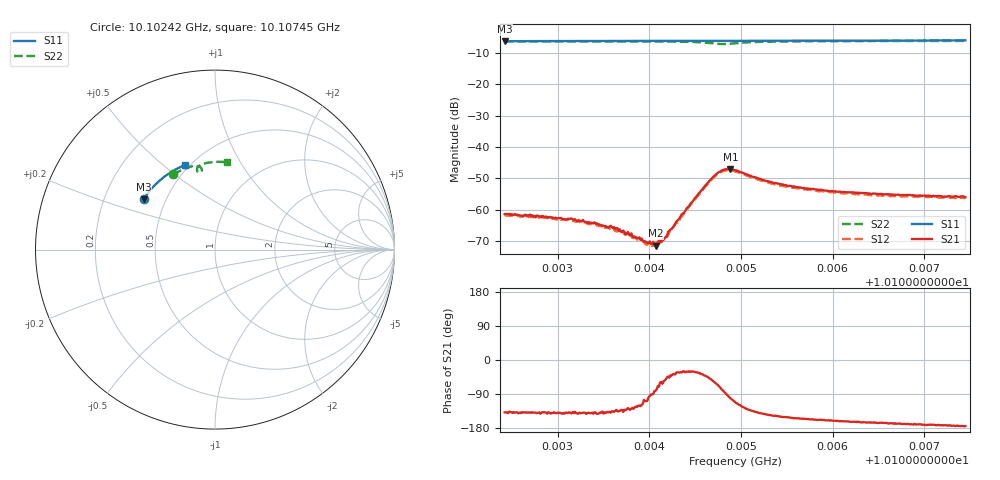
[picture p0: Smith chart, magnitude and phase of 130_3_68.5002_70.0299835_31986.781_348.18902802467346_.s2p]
#  HZ  S  RI  R  50.00
! Rohde & Schwarz Vector Network Analyzer
! Rohde-Schwarz,ZNB20-2Port,1311601062101988,3.16
! Created: UTC 3/20/2024, 4:54:21 PM
! freq[Hz]  re:S11  im:S11  re:S21  im:S21  re:S12  im:S12  re:S22  im:S22
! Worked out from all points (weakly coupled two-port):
!   401 points, 10.10242 GHz to 10.10745 GHz, reference 50 ohm
!   highest |S21| = -47.02 dB at 10.10489 GHz (marker M1); lowest = -71.5 dB at 10.10407 GHz (marker M2)
!   lowest |S11| = -6.3 dB at 10.10242 GHz (marker M3), VSWR 2.90, Z = 18.8 + j13.8 ohm
!   |S11| at or under -10 dB: nowhere
!   |S22| runs from -7.2 to -6.2 dB; largest |S21 - S12| = 0.00045
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1.010242e10  -0.3976 0.2804  -0.00064 -0.00057  -0.00056 -0.000604  -0.2317 0.4193
1.0102911e10  -0.3809 0.3051  -0.000581 -0.0005  -0.000511 -0.000541  -0.2034 0.4351
1.0103162e10  -0.3716 0.3174  -0.000523 -0.000478  -0.000453 -0.000485  -0.1883 0.4424
1.0103263e10  -0.3678 0.3221  -0.0005 -0.000419  -0.00047 -0.000441  -0.1821 0.4454
1.010359e10  -0.3552 0.3374  -0.000385 -0.000377  -0.000347 -0.000359  -0.1614 0.4538
1.0103778e10  -0.3476 0.346  -0.000251 -0.000314  -0.000233 -0.000352  -0.1487 0.4582
1.010398e10  -0.3392 0.355  -8.64e-05 -0.000283  -4.85e-05 -0.000279  -0.1344 0.4625
1.0104042e10  -0.3367 0.3578  8.92e-07 -0.000309  4.25e-05 -0.000268  -0.1297 0.4636
1.0104068e10  -0.3355 0.3589  4.04e-05 -0.000264  0.000108 -0.000251  -0.1277 0.464
1.0104105e10  -0.3339 0.3605  0.000111 -0.000311  0.000124 -0.000249  -0.1247 0.4646
1.0104181e10  -0.3307 0.3638  0.000232 -0.000284  0.000257 -0.000272  -0.1185 0.4656
1.0104244e10  -0.3279 0.3664  0.000372 -0.000324  0.000409 -0.00027  -0.1133 0.4661
1.0104432e10  -0.3196 0.3743  0.000978 -0.000559  0.00103 -0.000441  -0.0954 0.4653
1.0104684e10  -0.3082 0.3845  0.0019 -0.00254  0.00207 -0.0023  -0.0735 0.4448
1.0104785e10  -0.3035 0.3884  0.00101 -0.00404  0.00132 -0.00379  -0.0805 0.4311
1.0104885e10  -0.2991 0.3921  -0.000832 -0.00438  -0.000418 -0.00425  -0.0957 0.4329
1.0104935e10  -0.2968 0.3941  -0.0015 -0.004  -0.00109 -0.00395  -0.0998 0.4392
1.0105338e10  -0.2777 0.4094  -0.00228 -0.00153  -0.00204 -0.00164  -0.0776 0.4729
1.0105778e10  -0.2558 0.4247  -0.00197 -0.000857  -0.00181 -0.000939  -0.045 0.4832
1.010608e10  -0.2403 0.4344  -0.00186 -0.000609  -0.00169 -0.000768  -0.0238 0.4865
1.0106621e10  -0.2118 0.4504  -0.00172 -0.000391  -0.00158 -0.000538  0.0126 0.4889
1.0107451e10  -0.166 0.4711  -0.00158 -0.000159  -0.00153 -0.000292  0.0667 0.4867
